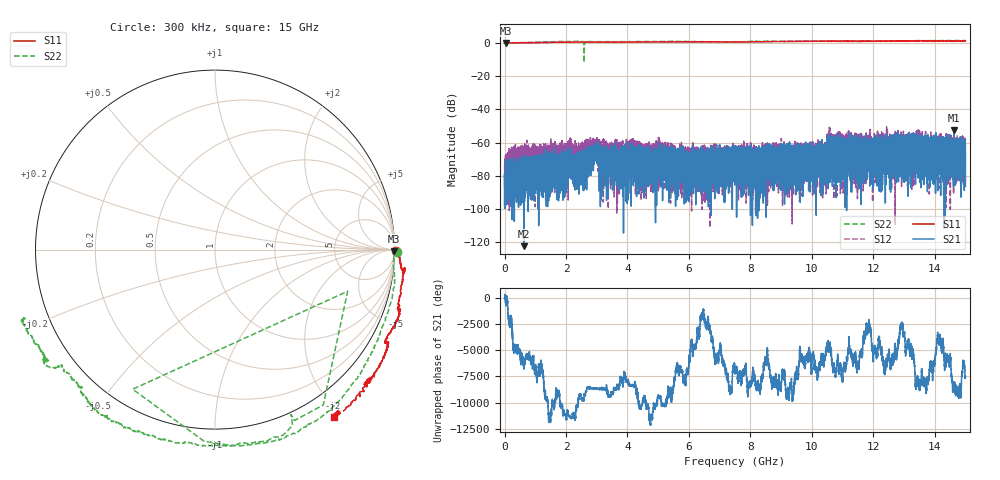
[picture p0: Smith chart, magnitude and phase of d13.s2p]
!Agilent Technologies,N5230C,SG49000117,A.08.50.07
!Agilent N5230C: A.08.50.07
!Date: Friday, May 17, 2024 07:55:38
!Correction: S11(Full 2 Port(1,2))
!S21(Full 2 Port(1,2))
!S12(Full 2 Port(1,2))
!S22(Full 2 Port(1,2))
!S2P File: Measurements: S11, S21, S12, S22:
# Hz S  MA  R 50
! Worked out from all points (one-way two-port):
!   20001 points, 300 kHz to 15 GHz, reference 50 ohm
!   highest |S21| = -52.60 dB at 14.63 GHz (marker M1); lowest = -122.2 dB at 634.8 MHz (marker M2)
!   lowest |S11| = 0.0 dB at 49.8 MHz (marker M3)
!   |S11| at or under -10 dB: nowhere
!   |S22| runs from -11.8 to 1.5 dB; largest |S21 - S12| = 0.0035
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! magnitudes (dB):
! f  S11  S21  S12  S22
! 300 kHz  0.1  -79.8  -79.8  0.1
! 49.8 MHz  0.0  -74.0  -71.6  0.0
! 634.8 MHz  0.2  -122.2  -71.2  0.2
! 1.733 GHz  0.4  -77.7  -70.5  0.8
! 2.109 GHz  0.5  -64.9  -62.6  0.9
! 2.273 GHz  0.5  -84.5  -66.9  0.9
! 2.501 GHz  0.5  -73.0  -68.2  0.9
! 2.992 GHz  0.5  -62.9  -58.5  0.8
! 3.336 GHz  0.5  -66.9  -74.9  0.8
! 3.611 GHz  0.5  -69.9  -62.1  0.8
! 3.977 GHz  0.5  -69.6  -75.3  0.8
! 4.142 GHz  0.6  -64.6  -71.6  0.8
! 4.37 GHz  0.6  -74.4  -70.5  0.8
! 5 GHz  0.7  -67.8  -71.9  0.9
! 6.312 GHz  0.7  -65.3  -67.1  0.8
! 7.5 GHz  0.7  -65.4  -65.0  0.7
! 10 GHz  1.0  -63.8  -66.8  1.1
! 10.42 GHz  1.1  -68.9  -82.1  1.1
! 10.58 GHz  1.0  -68.0  -57.9  1.2
! 12.5 GHz  1.2  -63.6  -60.0  1.2
! 14.63 GHz  1.2  -52.6  -64.0  1.4
! 15 GHz  1.1  -66.2  -64.1  1.5
